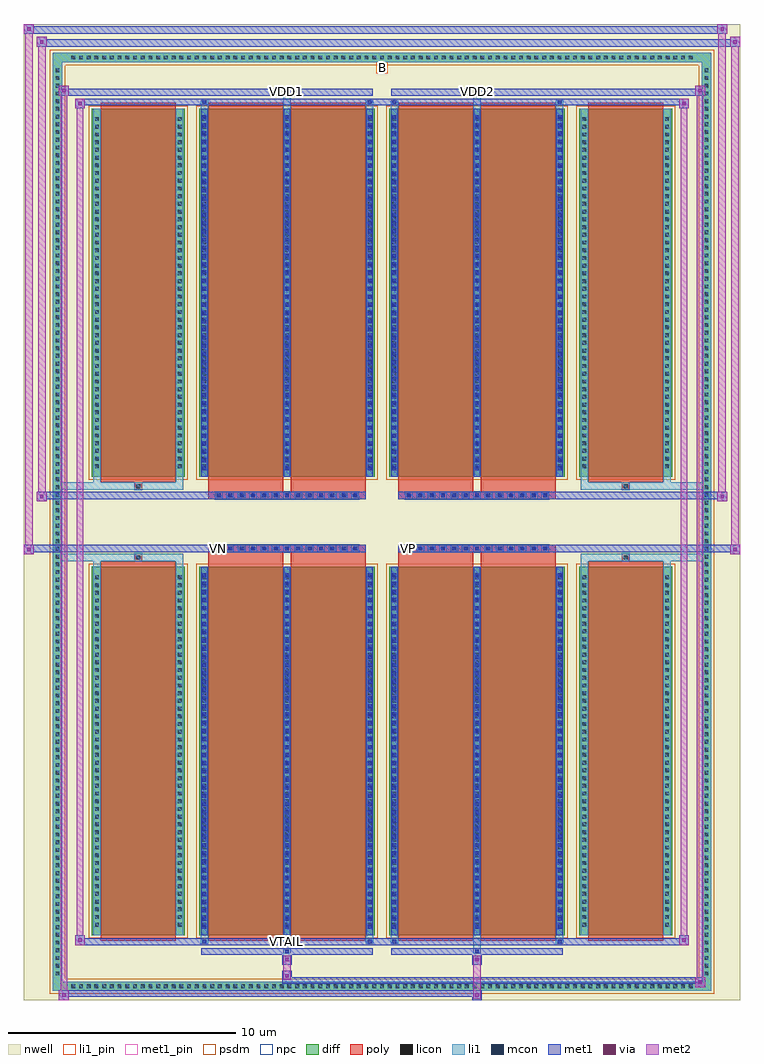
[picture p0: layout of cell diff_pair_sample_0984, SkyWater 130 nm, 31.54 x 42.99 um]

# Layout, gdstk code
import gdstk
lib = gdstk.Library(unit=1e-6, precision=5e-09)
def R(c, l, rs):  # rectangles x0, y0, x1, y1
    for r in rs: c.add(gdstk.rectangle(r[:2], r[2:], *l))
def A(c, l, x, y, w, h, nx, ny, dx, dy):  # array of equal rectangles
    R(c, l, [(x+i*dx, y+j*dy, x+i*dx+w, y+j*dy+h) for i in range(nx) for j in range(ny)])
def P(c, l, *ps):  # polygons
    for p in ps: c.add(gdstk.Polygon(p, *l))
nwell = (64, 20)
diff = (65, 20)
poly = (66, 20)
licon = (66, 44)
li1_pin = (67, 16)
li1 = (67, 20)
mcon = (67, 44)
met1_pin = (68, 16)
met1 = (68, 20)
via = (68, 44)
met2 = (69, 20)
psdm = (94, 20)
npc = (95, 20)

diff_pair_sample_0984 = lib.new_cell('diff_pair_sample_0984')
R(diff_pair_sample_0984, nwell, [(-15.77,-21.06,15.77,21.93), (-13.09,-19.25,-0.01,-0.805), (0.01,-19.25,13.09,-0.805), (-13.09,0.805,-0.01,19.25), (0.01,0.805,13.09,19.25)])
A(diff_pair_sample_0984, diff, -13.805, -20.66, 0.41, 0.41, 81, 2, 0.34, 40.91)
A(diff_pair_sample_0984, diff, -14.5, -20.095, 0.41, 0.41, 1, 118, 0, 0.34)
A(diff_pair_sample_0984, diff, 14.09, -20.095, 0.41, 0.41, 1, 118, 0, 0.34)
R(diff_pair_sample_0984, diff, [(-13.805,-20.66,13.805,-20.25), (-14.5,-20.095,-14.09,20.095), (14.09,-20.095,14.5,20.095), (-12.78,-18.205,-8.69,-1.985), (-8.05,-18.205,-0.32,-1.985), (0.32,-18.205,8.05,-1.985), (8.69,-18.205,12.78,-1.985), (-12.78,1.985,-8.69,18.205), (-8.05,1.985,-0.32,18.205), (0.32,1.985,8.05,18.205), (8.69,1.985,12.78,18.205), (-13.805,20.25,13.805,20.66)])
P(diff_pair_sample_0984, diff, [(14.5,20.66),(-14.5,20.66),(-14.5,-20.25),(-14.09,-20.25),(-14.09,20.25),(14.09,20.25),(14.09,-20.25),(-14.09,-20.25),(-14.5,-20.25),(-14.5,-20.66),(14.5,-20.66)])
A(diff_pair_sample_0984, poly, -7.35, -1.335, 0.33, 0.33, 13, 2, 0.5, 2.34)
A(diff_pair_sample_0984, poly, 1.02, -1.335, 0.33, 0.33, 13, 2, 0.5, 2.34)
R(diff_pair_sample_0984, poly, [(-12.39,-18.455,-9.08,-1.735), (-7.66,-18.455,-4.35,-1.735), (-4.02,-18.455,-0.71,-1.735), (0.71,-18.455,4.02,-1.735), (4.35,-18.455,7.66,-1.735), (9.08,-18.455,12.39,-1.735), (-10.9,-1.735,-10.57,-1.405), (-10.9,-1.735,-10.57,-1.405), (-7.66,-1.735,-4.35,-1.335), (-4.02,-1.735,-0.71,-1.335), (0.71,-1.735,4.02,-1.335), (4.35,-1.735,7.66,-1.335), (10.57,-1.735,10.9,-1.405), (10.57,-1.735,10.9,-1.405), (-7.66,-1.335,-0.71,-1.005), (0.71,-1.335,7.66,-1.005), (-7.66,1.005,-0.71,1.335), (0.71,1.005,7.66,1.335), (-7.66,1.335,-4.35,1.735), (-4.02,1.335,-0.71,1.735), (0.71,1.335,4.02,1.735), (4.35,1.335,7.66,1.735), (-10.9,1.405,-10.57,1.735), (-10.9,1.405,-10.57,1.735), (10.57,1.405,10.9,1.735), (10.57,1.405,10.9,1.735), (-12.39,1.735,-9.08,18.455), (-7.66,1.735,-4.35,18.455), (-4.02,1.735,-0.71,18.455), (0.71,1.735,4.02,18.455), (4.35,1.735,7.66,18.455), (9.08,1.735,12.39,18.455)])
A(diff_pair_sample_0984, licon, -13.685, -20.54, 0.17, 0.17, 81, 2, 0.34, 40.91)
A(diff_pair_sample_0984, licon, -14.38, -19.975, 0.17, 0.17, 1, 118, 0, 0.34)
A(diff_pair_sample_0984, licon, 14.21, -19.975, 0.17, 0.17, 1, 118, 0, 0.34)
A(diff_pair_sample_0984, licon, -12.64, -17.83, 0.17, 0.17, 1, 46, 0, 0.34)
A(diff_pair_sample_0984, licon, -9, -17.83, 0.17, 0.17, 1, 46, 0, 0.34)
A(diff_pair_sample_0984, licon, -7.91, -17.83, 0.17, 0.17, 3, 46, 3.64, 0.34)
A(diff_pair_sample_0984, licon, 0.46, -17.83, 0.17, 0.17, 3, 46, 3.64, 0.34)
A(diff_pair_sample_0984, licon, 8.83, -17.83, 0.17, 0.17, 1, 46, 0, 0.34)
A(diff_pair_sample_0984, licon, 12.47, -17.83, 0.17, 0.17, 1, 46, 0, 0.34)
A(diff_pair_sample_0984, licon, -7.27, -1.255, 0.17, 0.17, 13, 2, 0.5, 2.34)
A(diff_pair_sample_0984, licon, 1.1, -1.255, 0.17, 0.17, 13, 2, 0.5, 2.34)
A(diff_pair_sample_0984, licon, -12.64, 2.36, 0.17, 0.17, 1, 46, 0, 0.34)
A(diff_pair_sample_0984, licon, -9, 2.36, 0.17, 0.17, 1, 46, 0, 0.34)
A(diff_pair_sample_0984, licon, -7.91, 2.36, 0.17, 0.17, 3, 46, 3.64, 0.34)
A(diff_pair_sample_0984, licon, 0.46, 2.36, 0.17, 0.17, 3, 46, 3.64, 0.34)
A(diff_pair_sample_0984, licon, 8.83, 2.36, 0.17, 0.17, 1, 46, 0, 0.34)
A(diff_pair_sample_0984, licon, 12.47, 2.36, 0.17, 0.17, 1, 46, 0, 0.34)
R(diff_pair_sample_0984, licon, [(-10.82,-1.655,-10.65,-1.485), (10.65,-1.655,10.82,-1.485), (-10.82,1.485,-10.65,1.655), (10.65,1.485,10.82,1.655)])
R(diff_pair_sample_0984, li1_pin, [(-0.25,19.75,0.25,20.25)])
A(diff_pair_sample_0984, li1, -13.765, -20.62, 0.33, 0.33, 81, 2, 0.34, 40.91)
A(diff_pair_sample_0984, li1, -14.46, -20.055, 0.33, 0.33, 1, 118, 0, 0.34)
A(diff_pair_sample_0984, li1, 14.13, -20.055, 0.33, 0.33, 1, 118, 0, 0.34)
A(diff_pair_sample_0984, li1, -7.99, -18.205, 0.33, 16.22, 3, 2, 3.64, 20.19)
A(diff_pair_sample_0984, li1, 0.38, -18.205, 0.33, 16.22, 3, 2, 3.64, 20.19)
A(diff_pair_sample_0984, li1, -7.91, -17.92, 0.17, 0.17, 3, 44, 3.64, 0.36)
A(diff_pair_sample_0984, li1, -7.91, -17.92, 0.17, 15.65, 3, 2, 3.64, 20.19)
A(diff_pair_sample_0984, li1, 0.46, -17.92, 0.17, 0.17, 3, 44, 3.64, 0.36)
A(diff_pair_sample_0984, li1, 0.46, -17.92, 0.17, 15.65, 3, 2, 3.64, 20.19)
A(diff_pair_sample_0984, li1, -12.72, -17.91, 0.33, 0.33, 1, 46, 0, 0.34)
A(diff_pair_sample_0984, li1, -9.08, -17.91, 0.33, 0.33, 1, 46, 0, 0.34)
A(diff_pair_sample_0984, li1, -7.99, -17.91, 0.33, 0.33, 3, 46, 3.64, 0.34)
A(diff_pair_sample_0984, li1, 0.38, -17.91, 0.33, 0.33, 3, 46, 3.64, 0.34)
A(diff_pair_sample_0984, li1, 8.75, -17.91, 0.33, 0.33, 1, 46, 0, 0.34)
A(diff_pair_sample_0984, li1, 12.39, -17.91, 0.33, 0.33, 1, 46, 0, 0.34)
A(diff_pair_sample_0984, li1, -7.35, -1.335, 0.33, 0.33, 13, 2, 0.5, 2.34)
A(diff_pair_sample_0984, li1, 1.02, -1.335, 0.33, 0.33, 13, 2, 0.5, 2.34)
A(diff_pair_sample_0984, li1, -7.91, 2.27, 0.17, 0.17, 3, 44, 3.64, 0.36)
A(diff_pair_sample_0984, li1, 0.46, 2.27, 0.17, 0.17, 3, 44, 3.64, 0.36)
A(diff_pair_sample_0984, li1, -12.72, 2.28, 0.33, 0.33, 1, 46, 0, 0.34)
A(diff_pair_sample_0984, li1, -9.08, 2.28, 0.33, 0.33, 1, 46, 0, 0.34)
A(diff_pair_sample_0984, li1, -7.99, 2.28, 0.33, 0.33, 3, 46, 3.64, 0.34)
A(diff_pair_sample_0984, li1, 0.38, 2.28, 0.33, 0.33, 3, 46, 3.64, 0.34)
A(diff_pair_sample_0984, li1, 8.75, 2.28, 0.33, 0.33, 1, 46, 0, 0.34)
A(diff_pair_sample_0984, li1, 12.39, 2.28, 0.33, 0.33, 1, 46, 0, 0.34)
R(diff_pair_sample_0984, li1, [(-14.5,-20.66,-14.09,-20.25), (-14.5,-20.66,-14.09,-20.25), (-14.09,-20.66,14.09,-20.25), (14.09,-20.66,14.5,-20.25), (14.09,-20.66,14.5,-20.25), (-14.5,-20.25,-14.09,20.25), (14.09,-20.25,14.5,20.25), (-4.35,-19.01,-4.02,-18.205), (-4.27,-19.01,-4.1,-18.84), (4.02,-19.01,4.35,-18.205), (4.1,-19.01,4.27,-18.84), (-7.99,-18.58,-7.66,-18.205), (-7.91,-18.58,-7.74,-18.41), (-0.71,-18.58,-0.38,-18.205), (-0.63,-18.58,-0.46,-18.41), (0.38,-18.58,0.71,-18.205), (0.46,-18.58,0.63,-18.41), (7.66,-18.58,7.99,-18.205), (7.74,-18.58,7.91,-18.41), (-12.72,-18.205,-12.39,-1.985), (-9.08,-18.205,-8.75,-1.985), (8.75,-18.205,9.08,-1.985), (12.39,-18.205,12.72,-1.985), (-12.72,-1.985,-12.39,-1.405), (-9.08,-1.985,-8.75,-1.405), (8.75,-1.985,9.08,-1.405), (12.39,-1.985,12.72,-1.405), (-14.5,-1.735,-10.9,-1.405), (-12.72,-1.735,-10.9,-1.405), (-10.9,-1.735,-10.57,-1.405), (-10.57,-1.735,-8.75,-1.405), (8.75,-1.735,10.57,-1.405), (10.57,-1.735,10.9,-1.405), (10.57,-1.735,14.5,-1.405), (10.9,-1.735,12.72,-1.405), (-14.5,1.405,-10.9,1.735), (-12.72,1.405,-10.9,1.735), (-12.72,1.405,-12.39,1.985), (-10.9,1.405,-10.57,1.735), (-10.57,1.405,-8.75,1.735), (-9.08,1.405,-8.75,1.985), (8.75,1.405,10.57,1.735), (8.75,1.405,9.08,1.985), (10.57,1.405,10.9,1.735), (10.57,1.405,14.5,1.735), (10.9,1.405,12.72,1.735), (12.39,1.405,12.72,1.985), (-12.72,1.985,-12.39,18.205), (-9.08,1.985,-8.75,18.205), (8.75,1.985,9.08,18.205), (12.39,1.985,12.72,18.205), (-7.99,18.205,-7.66,18.58), (-4.35,18.205,-4.02,19.01), (-0.71,18.205,-0.38,18.58), (0.38,18.205,0.71,18.58), (4.02,18.205,4.35,19.01), (7.66,18.205,7.99,18.58), (-7.91,18.41,-7.74,18.58), (-0.63,18.41,-0.46,18.58), (0.46,18.41,0.63,18.58), (7.74,18.41,7.91,18.58), (-4.27,18.84,-4.1,19.01), (4.1,18.84,4.27,19.01), (-14.5,20.25,-14.09,20.66), (-14.5,20.25,-14.09,20.66), (-14.09,20.25,14.09,20.66), (14.09,20.25,14.5,20.66), (14.09,20.25,14.5,20.66)])
A(diff_pair_sample_0984, mcon, -7.91, -17.92, 0.17, 0.17, 3, 44, 3.64, 0.36)
A(diff_pair_sample_0984, mcon, 0.46, -17.92, 0.17, 0.17, 3, 44, 3.64, 0.36)
A(diff_pair_sample_0984, mcon, -7.27, -1.255, 0.17, 0.17, 13, 2, 0.5, 2.34)
A(diff_pair_sample_0984, mcon, 1.1, -1.255, 0.17, 0.17, 13, 2, 0.5, 2.34)
A(diff_pair_sample_0984, mcon, -7.91, 2.27, 0.17, 0.17, 3, 44, 3.64, 0.36)
A(diff_pair_sample_0984, mcon, 0.46, 2.27, 0.17, 0.17, 3, 44, 3.64, 0.36)
R(diff_pair_sample_0984, mcon, [(-4.27,-19.01,-4.1,-18.84), (4.1,-19.01,4.27,-18.84), (-7.91,-18.58,-7.74,-18.41), (-0.63,-18.58,-0.46,-18.41), (0.46,-18.58,0.63,-18.41), (7.74,-18.58,7.91,-18.41), (-7.91,18.41,-7.74,18.58), (-0.63,18.41,-0.46,18.58), (0.46,18.41,0.63,18.58), (7.74,18.41,7.91,18.58), (-4.27,18.84,-4.1,19.01), (4.1,18.84,4.27,19.01)])
R(diff_pair_sample_0984, met1_pin, [(-4.32,-18.62,-4.05,-18.35), (-7.32,-1.295,-7.05,-1.025), (1.05,-1.295,1.32,-1.025), (-4.32,18.8,-4.05,19.07), (4.05,18.8,4.32,19.07)])
A(diff_pair_sample_0984, met1, -7.97, -18.205, 0.29, 16.22, 3, 2, 3.64, 20.19)
A(diff_pair_sample_0984, met1, 0.4, -18.205, 0.29, 16.22, 3, 2, 3.64, 20.19)
A(diff_pair_sample_0984, met1, -7.97, -17.98, 0.29, 0.29, 3, 44, 3.64, 0.36)
A(diff_pair_sample_0984, met1, 0.4, -17.98, 0.29, 0.29, 3, 44, 3.64, 0.36)
A(diff_pair_sample_0984, met1, -7.33, -1.315, 0.29, 0.29, 13, 2, 0.5, 2.34)
A(diff_pair_sample_0984, met1, 1.04, -1.315, 0.29, 0.29, 13, 2, 0.5, 2.34)
A(diff_pair_sample_0984, met1, -7.97, 2.21, 0.29, 0.29, 3, 44, 3.64, 0.36)
A(diff_pair_sample_0984, met1, 0.4, 2.21, 0.29, 0.29, 3, 44, 3.64, 0.36)
R(diff_pair_sample_0984, met1, [(-14.23,-21.06,-13.8,-20.63), (3.97,-21.06,4.4,-20.63), (-14.23,-20.92,4.4,-20.63), (13.8,-20.49,14.23,-20.06), (-4.4,-20.35,14.23,-20.06), (-4.4,-20.21,-3.97,-19.78), (-4.4,-19.5,-3.97,-19.07), (3.97,-19.5,4.4,-19.07), (-7.97,-19.07,-0.4,-18.78), (-4.33,-19.07,-4.04,-18.78), (0.4,-19.07,7.97,-18.78), (4.04,-19.07,4.33,-18.78), (-13.52,-18.64,-13.09,-18.21), (-13.52,-18.64,-7.97,-18.35), (-7.97,-18.64,-7.68,-18.35), (-7.97,-18.64,-0.4,-18.35), (-0.69,-18.64,-0.4,-18.35), (-0.4,-18.64,0.4,-18.35), (0.4,-18.64,0.69,-18.35), (0.4,-18.64,7.97,-18.35), (7.68,-18.64,7.97,-18.35), (7.97,-18.64,13.52,-18.35), (13.09,-18.64,13.52,-18.21), (-15.77,-1.435,-15.34,-1.005), (15.34,-1.435,15.77,-1.005), (-15.77,-1.335,-0.71,-1.005), (-7.66,-1.335,-0.71,-1.005), (0.71,-1.335,7.66,-1.005), (0.71,-1.335,15.77,-1.005), (-15.2,0.905,-14.77,1.335), (14.77,0.905,15.2,1.335), (-15.2,1.005,-7.66,1.335), (-7.66,1.005,-0.71,1.335), (0.71,1.005,7.66,1.335), (7.66,1.005,15.2,1.335), (-13.52,18.21,-13.09,18.64), (13.09,18.21,13.52,18.64), (-13.52,18.35,-7.97,18.64), (-7.97,18.35,-7.68,18.64), (-7.97,18.35,-0.4,18.64), (-0.69,18.35,-0.4,18.64), (-0.4,18.35,0.4,18.64), (0.4,18.35,0.69,18.64), (0.4,18.35,7.97,18.64), (7.68,18.35,7.97,18.64), (7.97,18.35,13.52,18.64), (-14.23,18.78,-13.8,19.21), (-14.23,18.78,-7.97,19.07), (-7.97,18.78,-0.4,19.07), (-4.33,18.78,-4.04,19.07), (0.4,18.78,7.97,19.07), (4.04,18.78,4.33,19.07), (7.97,18.78,14.23,19.07), (13.8,18.78,14.23,19.21), (-15.2,20.93,-14.77,21.36), (-15.2,20.93,-13.09,21.26), (-13.09,20.93,13.09,21.26), (13.09,20.93,15.77,21.26), (15.34,20.93,15.77,21.36), (-15.77,21.5,-15.34,21.93), (-15.77,21.5,-13.09,21.83), (-13.09,21.5,13.09,21.83), (13.09,21.5,15.2,21.83), (14.77,21.5,15.2,21.93)])
R(diff_pair_sample_0984, via, [(-14.09,-20.92,-13.94,-20.77), (4.11,-20.92,4.26,-20.77), (13.94,-20.35,14.09,-20.2), (-4.26,-20.07,-4.11,-19.92), (-4.26,-19.36,-4.11,-19.21), (4.11,-19.36,4.26,-19.21), (-13.38,-18.5,-13.23,-18.35), (13.23,-18.5,13.38,-18.35), (-15.63,-1.295,-15.48,-1.145), (15.48,-1.295,15.63,-1.145), (-15.06,1.045,-14.91,1.195), (14.91,1.045,15.06,1.195), (-13.38,18.35,-13.23,18.5), (13.23,18.35,13.38,18.5), (-14.09,18.92,-13.94,19.07), (13.94,18.92,14.09,19.07), (-15.06,21.07,-14.91,21.22), (15.48,21.07,15.63,21.22), (-15.63,21.64,-15.48,21.79), (14.91,21.64,15.06,21.79)])
R(diff_pair_sample_0984, met2, [(-14.23,-21.06,-13.8,-20.63), (-14.16,-21.06,-13.87,19.21), (-13.87,-21.06,-13.8,-20.63), (-14.18,-21.01,-13.85,-20.68), (4.02,-21.01,4.35,-20.68), (4.02,-20.68,4.35,-19.45), (13.8,-20.49,14.23,-20.06), (13.87,-20.49,14.16,19.21), (14.16,-20.49,14.23,-20.06), (13.85,-20.44,14.18,-20.11), (-4.35,-20.16,-4.02,-19.83), (-4.35,-19.83,-4.02,-19.45), (-4.35,-19.45,-4.02,-19.12), (4.02,-19.45,4.35,-19.12), (-13.52,-18.64,-13.09,-18.21), (-13.45,-18.64,-13.16,18.64), (-13.16,-18.64,-13.09,-18.21), (13.09,-18.64,13.52,-18.21), (13.16,-18.64,13.45,18.64), (13.45,-18.64,13.52,-18.21), (-13.47,-18.59,-13.14,-18.26), (13.14,-18.59,13.47,-18.26), (-15.77,-1.435,-15.34,-1.005), (-15.72,-1.435,-15.39,21.93), (-15.39,-1.435,-15.34,-1.005), (15.34,-1.435,15.77,-1.005), (15.39,-1.435,15.72,21.36), (15.72,-1.435,15.77,-1.005), (-15.72,-1.385,-15.39,-1.055), (15.39,-1.385,15.72,-1.055), (-15.2,0.905,-14.77,1.335), (-15.15,0.905,-14.82,21.36), (-14.82,0.905,-14.77,1.335), (14.77,0.905,15.2,1.335), (14.82,0.905,15.15,21.93), (15.15,0.905,15.2,1.335), (-15.15,0.955,-14.82,1.285), (14.82,0.955,15.15,1.285), (-13.52,18.21,-13.09,18.64), (-13.16,18.21,-13.09,18.64), (13.09,18.21,13.52,18.64), (13.45,18.21,13.52,18.64), (-13.47,18.26,-13.14,18.59), (13.14,18.26,13.47,18.59), (-14.23,18.78,-13.8,19.21), (-13.87,18.78,-13.8,19.21), (13.8,18.78,14.23,19.21), (14.16,18.78,14.23,19.21), (-14.18,18.83,-13.85,19.16), (13.85,18.83,14.18,19.16), (-15.2,20.93,-14.77,21.36), (-14.82,20.93,-14.77,21.36), (15.34,20.93,15.77,21.36), (15.72,20.93,15.77,21.36), (-15.15,20.98,-14.82,21.31), (15.39,20.98,15.72,21.31), (-15.77,21.5,-15.34,21.93), (-15.39,21.5,-15.34,21.93), (14.77,21.5,15.2,21.93), (15.15,21.5,15.2,21.93), (-15.72,21.55,-15.39,21.88), (14.82,21.55,15.15,21.88)])
R(diff_pair_sample_0984, psdm, [(-12.91,-18.335,-8.56,-1.855), (-8.18,-18.335,-0.19,-1.855), (0.19,-18.335,8.18,-1.855), (8.56,-18.335,12.91,-1.855), (-12.91,1.855,-8.56,18.335), (-8.18,1.855,-0.19,18.335), (0.19,1.855,8.18,18.335), (8.56,1.855,12.91,18.335)])
P(diff_pair_sample_0984, psdm, [(14.63,20.79),(-14.63,20.79),(-14.63,-20.12),(-13.96,-20.12),(-13.96,20.12),(13.96,20.12),(13.96,-20.12),(-13.96,-20.12),(-14.63,-20.12),(-14.63,-20.79),(14.63,-20.79)])
A(diff_pair_sample_0984, npc, -7.37, -1.355, 0.37, 0.37, 13, 2, 0.5, 2.34)
A(diff_pair_sample_0984, npc, 1, -1.355, 0.37, 0.37, 13, 2, 0.5, 2.34)
R(diff_pair_sample_0984, npc, [(-10.92,-1.755,-10.55,-1.385), (10.55,-1.755,10.92,-1.385), (-7.37,-1.355,-6.5,-0.985), (-7.37,-1.355,-6.5,-0.985), (-6.87,-1.355,-6,-0.985), (-6.87,-1.355,-6,-0.985), (-6.37,-1.355,-5.5,-0.985), (-6.37,-1.355,-5.5,-0.985), (-5.87,-1.355,-5,-0.985), (-5.87,-1.355,-5,-0.985), (-5.37,-1.355,-4.5,-0.985), (-5.37,-1.355,-4.5,-0.985), (-4.87,-1.355,-4,-0.985), (-4.87,-1.355,-4,-0.985), (-4.37,-1.355,-3.5,-0.985), (-4.37,-1.355,-3.5,-0.985), (-3.87,-1.355,-3,-0.985), (-3.87,-1.355,-3,-0.985), (-3.37,-1.355,-2.5,-0.985), (-3.37,-1.355,-2.5,-0.985), (-2.87,-1.355,-2,-0.985), (-2.87,-1.355,-2,-0.985), (-2.37,-1.355,-1.5,-0.985), (-2.37,-1.355,-1.5,-0.985), (-1.87,-1.355,-1,-0.985), (-1.87,-1.355,-1,-0.985), (1,-1.355,1.87,-0.985), (1,-1.355,1.87,-0.985), (1.5,-1.355,2.37,-0.985), (1.5,-1.355,2.37,-0.985), (2,-1.355,2.87,-0.985), (2,-1.355,2.87,-0.985), (2.5,-1.355,3.37,-0.985), (2.5,-1.355,3.37,-0.985), (3,-1.355,3.87,-0.985), (3,-1.355,3.87,-0.985), (3.5,-1.355,4.37,-0.985), (3.5,-1.355,4.37,-0.985), (4,-1.355,4.87,-0.985), (4,-1.355,4.87,-0.985), (4.5,-1.355,5.37,-0.985), (4.5,-1.355,5.37,-0.985), (5,-1.355,5.87,-0.985), (5,-1.355,5.87,-0.985), (5.5,-1.355,6.37,-0.985), (5.5,-1.355,6.37,-0.985), (6,-1.355,6.87,-0.985), (6,-1.355,6.87,-0.985), (6.5,-1.355,7.37,-0.985), (6.5,-1.355,7.37,-0.985), (-7.37,0.985,-6.5,1.355), (-7.37,0.985,-6.5,1.355), (-6.87,0.985,-6,1.355), (-6.87,0.985,-6,1.355), (-6.37,0.985,-5.5,1.355), (-6.37,0.985,-5.5,1.355), (-5.87,0.985,-5,1.355), (-5.87,0.985,-5,1.355), (-5.37,0.985,-4.5,1.355), (-5.37,0.985,-4.5,1.355), (-4.87,0.985,-4,1.355), (-4.87,0.985,-4,1.355), (-4.37,0.985,-3.5,1.355), (-4.37,0.985,-3.5,1.355), (-3.87,0.985,-3,1.355), (-3.87,0.985,-3,1.355), (-3.37,0.985,-2.5,1.355), (-3.37,0.985,-2.5,1.355), (-2.87,0.985,-2,1.355), (-2.87,0.985,-2,1.355), (-2.37,0.985,-1.5,1.355), (-2.37,0.985,-1.5,1.355), (-1.87,0.985,-1,1.355), (-1.87,0.985,-1,1.355), (1,0.985,1.87,1.355), (1,0.985,1.87,1.355), (1.5,0.985,2.37,1.355), (1.5,0.985,2.37,1.355), (2,0.985,2.87,1.355), (2,0.985,2.87,1.355), (2.5,0.985,3.37,1.355), (2.5,0.985,3.37,1.355), (3,0.985,3.87,1.355), (3,0.985,3.87,1.355), (3.5,0.985,4.37,1.355), (3.5,0.985,4.37,1.355), (4,0.985,4.87,1.355), (4,0.985,4.87,1.355), (4.5,0.985,5.37,1.355), (4.5,0.985,5.37,1.355), (5,0.985,5.87,1.355), (5,0.985,5.87,1.355), (5.5,0.985,6.37,1.355), (5.5,0.985,6.37,1.355), (6,0.985,6.87,1.355), (6,0.985,6.87,1.355), (6.5,0.985,7.37,1.355), (6.5,0.985,7.37,1.355), (-10.92,1.385,-10.55,1.755), (10.55,1.385,10.92,1.755)])
diff_pair_sample_0984.add(gdstk.Label('VTAIL', (-4.185,-18.485), layer=68, texttype=5))
diff_pair_sample_0984.add(gdstk.Label('VN', (-7.185,-1.16), layer=68, texttype=5))
diff_pair_sample_0984.add(gdstk.Label('VP', (1.185,-1.16), layer=68, texttype=5))
diff_pair_sample_0984.add(gdstk.Label('B', (0,20), layer=67, texttype=5))
diff_pair_sample_0984.add(gdstk.Label('VDD2', (4.185,18.935), layer=68, texttype=5))
diff_pair_sample_0984.add(gdstk.Label('VDD1', (-4.185,18.935), layer=68, texttype=5))

lib.write_gds('diff_pair_sample_0984.gds')
